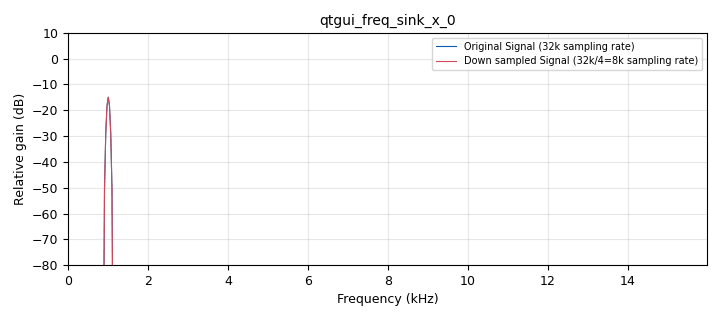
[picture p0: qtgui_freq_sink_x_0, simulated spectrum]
<?xml version='1.0' encoding='utf-8'?>
<?grc format='1' created='3.7.9'?>
<flow_graph>
<block>
<key>options</key>
<param><key>id</key><value>lab1_4</value></param>
<param><key>category</key><value>Custom</value></param>
<param><key>generate_options</key><value>qt_gui</value></param>
</block>
<block>
<key>variable_qtgui_range</key>
<param><key>id</key><value>freq_a</value></param>
<param><key>value</key><value>1e3</value></param>
<param><key>label</key><value>Frequency A</value></param>
<param><key>orient</key><value>Qt.Horizontal</value></param>
<param><key>start</key><value>1e3</value></param>
<param><key>step</key><value>100</value></param>
<param><key>stop</key><value>samp_rate/2.0</value></param>
</block>
<block>
<key>variable</key>
<param><key>id</key><value>samp_rate</value></param>
<param><key>value</key><value>32000</value></param>
</block>
<block>
<key>blocks_deinterleave</key>
<param><key>id</key><value>blocks_deinterleave_0</value></param>
<param><key>type</key><value>float</value></param>
<param><key>num_streams</key><value>4</value></param>
</block>
<block>
<key>blocks_null_sink</key>
<param><key>id</key><value>blocks_null_sink_0</value></param>
<param><key>bus_conns</key><value>[[0,],]</value></param>
<param><key>type</key><value>float</value></param>
</block>
<block>
<key>blocks_null_sink</key>
<param><key>id</key><value>blocks_null_sink_0_0</value></param>
<param><key>bus_conns</key><value>[[0,],]</value></param>
<param><key>type</key><value>float</value></param>
</block>
<block>
<key>blocks_null_sink</key>
<param><key>id</key><value>blocks_null_sink_0_0_0</value></param>
<param><key>bus_conns</key><value>[[0,],]</value></param>
<param><key>type</key><value>float</value></param>
</block>
<block>
<key>blocks_throttle</key>
<param><key>id</key><value>blocks_throttle_0</value></param>
<param><key>samples_per_second</key><value>samp_rate</value></param>
<param><key>type</key><value>float</value></param>
</block>
<block>
<key>qtgui_freq_sink_x</key>
<param><key>id</key><value>qtgui_freq_sink_x_0</value></param>
<param><key>bw</key><value>samp_rate</value></param>
<param><key>fc</key><value>0</value></param>
<param><key>ctrlpanel</key><value>True</value></param>
<param><key>fftsize</key><value>1024</value></param>
<param><key>grid</key><value>True</value></param>
<param><key>label1</key><value>Original Signal (32k sampling rate)</value></param>
<param><key>label2</key><value>Down sampled Signal (32k/4=8k sampling rate)</value></param>
<param><key>nconnections</key><value>2</value></param>
<param><key>showports</key><value>True</value></param>
<param><key>freqhalf</key><value>False</value></param>
<param><key>type</key><value>float</value></param>
<param><key>wintype</key><value>firdes.WIN_BLACKMAN_hARRIS</value></param>
<param><key>ymin</key><value>-80</value></param>
</block>
<block>
<key>rational_resampler_xxx</key>
<param><key>id</key><value>rational_resampler_xxx_0</value></param>
<param><key>decim</key><value>1</value></param>
<param><key>interp</key><value>4</value></param>
<param><key>taps</key><value></value></param>
<param><key>type</key><value>fff</value></param>
</block>
<block>
<key>analog_sig_source_x</key>
<param><key>id</key><value>signal_A</value></param>
<param><key>amp</key><value>1</value></param>
<param><key>freq</key><value>freq_a</value></param>
<param><key>offset</key><value>0</value></param>
<param><key>type</key><value>float</value></param>
<param><key>samp_rate</key><value>samp_rate</value></param>
<param><key>waveform</key><value>analog.GR_COS_WAVE</value></param>
</block>
<connection><source_block_id>blocks_deinterleave_0</source_block_id><sink_block_id>blocks_throttle_0</sink_block_id><source_key>0</source_key><sink_key>0</sink_key></connection>
<connection><source_block_id>blocks_deinterleave_0</source_block_id><sink_block_id>blocks_null_sink_0</sink_block_id><source_key>1</source_key><sink_key>0</sink_key></connection>
<connection><source_block_id>blocks_deinterleave_0</source_block_id><sink_block_id>blocks_null_sink_0_0</sink_block_id><source_key>2</source_key><sink_key>0</sink_key></connection>
<connection><source_block_id>blocks_deinterleave_0</source_block_id><sink_block_id>blocks_null_sink_0_0_0</sink_block_id><source_key>3</source_key><sink_key>0</sink_key></connection>
<connection><source_block_id>blocks_throttle_0</source_block_id><sink_block_id>rational_resampler_xxx_0</sink_block_id><source_key>0</source_key><sink_key>0</sink_key></connection>
<connection><source_block_id>rational_resampler_xxx_0</source_block_id><sink_block_id>qtgui_freq_sink_x_0</sink_block_id><source_key>0</source_key><sink_key>1</sink_key></connection>
<connection><source_block_id>signal_A</source_block_id><sink_block_id>blocks_deinterleave_0</sink_block_id><source_key>0</source_key><sink_key>0</sink_key></connection>
<connection><source_block_id>signal_A</source_block_id><sink_block_id>qtgui_freq_sink_x_0</sink_block_id><source_key>0</source_key><sink_key>0</sink_key></connection>
</flow_graph>
